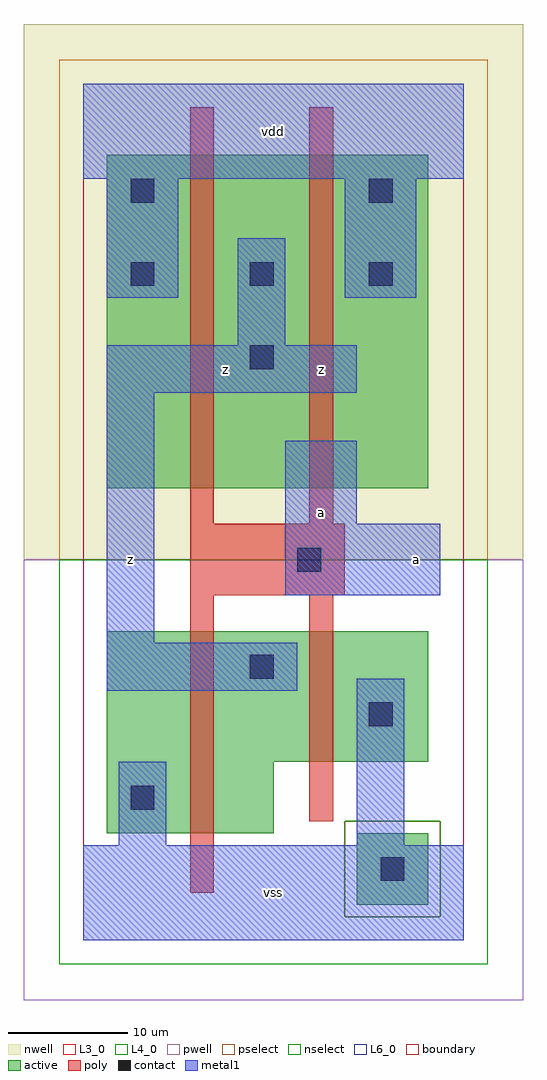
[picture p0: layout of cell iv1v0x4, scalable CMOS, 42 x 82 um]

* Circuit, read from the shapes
.subckt iv1v0x4 a vdd vss z
M1 z a vss vss nfet w=17u l=2u
M2 vss a z vss nfet w=11u l=2u
M3 z a vdd n1 pfet w=28u l=2u m=2
.ends

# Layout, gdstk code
import gdstk
lib = gdstk.Library(unit=1e-6, precision=1e-09)
def R(c, l, rs):  # rectangles x0, y0, x1, y1
    for r in rs: c.add(gdstk.rectangle(r[:2], r[2:], *l))
def A(c, l, x, y, w, h, nx, ny, dx, dy):  # array of equal rectangles
    R(c, l, [(x+i*dx, y+j*dy, x+i*dx+w, y+j*dy+h) for i in range(nx) for j in range(ny)])
L3_0 = (3, 0)
L4_0 = (4, 0)
L6_0 = (6, 0)
contact = (25, 0)
pwell = (41, 0)
nwell = (42, 0)
active = (43, 0)
pselect = (44, 0)
nselect = (45, 0)
poly = (46, 0)
metal1 = (49, 0)
boundary = (63, 0)

iv1v0x4 = lib.new_cell('iv1v0x4')
R(iv1v0x4, L3_0, [(2,9,16,15), (2,15,29,26)])
R(iv1v0x4, L4_0, [(2,38,29,66)])
R(iv1v0x4, L6_0, [(23,3,29,9)])
A(iv1v0x4, contact, 4, 55, 2, 2, 3, 1, 10, 0)
R(iv1v0x4, contact, [(25,5,27,7), (4,11,6,13), (24,18,26,20), (14,22,16,24), (18,31,20,33), (14,48,16,50), (4,62,6,64), (24,62,26,64)])
R(iv1v0x4, pwell, [(-5,-5,37,32)])
R(iv1v0x4, nwell, [(-5,32,37,77)])
R(iv1v0x4, active, [(23,3,29,9), (2,9,16,15), (2,15,29,26), (2,38,29,66)])
R(iv1v0x4, pselect, [(22,2,30,10), (-2,32,34,74)])
R(iv1v0x4, nselect, [(-2,-2,34,2), (-2,2,22,10), (30,2,34,10), (-2,10,34,32)])
R(iv1v0x4, poly, [(9,4,11,29), (19,10,21,29), (9,29,22,35), (9,35,11,70), (19,35,21,70)])
R(iv1v0x4, metal1, [(0,0,32,8), (3,8,7,15), (23,8,27,22), (2,21,18,25), (2,25,6,46), (17,29,30,35), (17,35,23,42), (2,46,23,50), (13,50,17,59), (2,54,8,64), (22,54,28,64), (0,64,32,72)])
R(iv1v0x4, boundary, [(0,0,32,72)])
iv1v0x4.add(gdstk.Label('z', (4,32), layer=49, texttype=0))
iv1v0x4.add(gdstk.Label('z', (12,48), layer=49, texttype=0))
iv1v0x4.add(gdstk.Label('vss', (16,4), layer=49, texttype=0))
iv1v0x4.add(gdstk.Label('a', (20,36), layer=49, texttype=0))
iv1v0x4.add(gdstk.Label('z', (20,48), layer=49, texttype=0))
iv1v0x4.add(gdstk.Label('vdd', (16,68), layer=49, texttype=0))
iv1v0x4.add(gdstk.Label('a', (28,32), layer=49, texttype=0))

lib.write_gds('iv1v0x4.gds')
